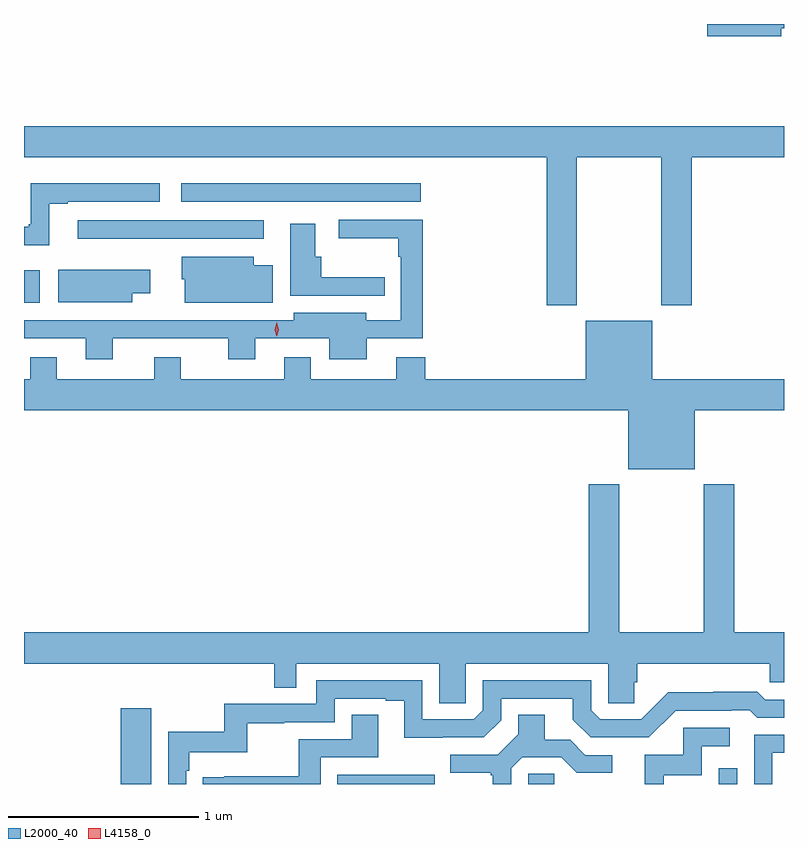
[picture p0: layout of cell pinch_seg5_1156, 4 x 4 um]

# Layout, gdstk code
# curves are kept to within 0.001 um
import gdstk
lib = gdstk.Library(unit=1e-6, precision=1e-09)
def R(c, l, rs):  # rectangles x0, y0, x1, y1
    for r in rs: c.add(gdstk.rectangle(r[:2], r[2:], *l))
def P(c, l, *ps):  # polygons
    for p in ps: c.add(gdstk.Polygon(p, *l))
L2000_40 = (2000, 40)
L4158_0 = (4158, 0)

pinch_seg5_1156 = lib.new_cell('pinch_seg5_1156')
R(pinch_seg5_1156, L2000_40, [(832.244,841.474,832.405,841.873), (833.383,841.474,833.898,841.524), (834.39,841.474,834.527,841.527), (835.392,841.474,835.488,841.558), (831.735,844.007,831.817,844.177), (832.563,844.539,833.824,844.636)])
P(pinch_seg5_1156, L2000_40, [(835.72,845.452),(835.735,845.452),(835.735,845.474),(835.332,845.474),(835.332,845.41),(835.72,845.41)],
  [(834.645,844.772),(835.09,844.772),(835.09,843.993),(835.25,843.993),(835.25,844.772),(835.735,844.772),(835.735,844.936),(831.735,844.936),(831.735,844.772),(834.485,844.772),(834.485,843.993),(834.645,843.993)],
  [(831.868,844.527),(831.964,844.527),(831.964,844.539),(832.45,844.539),(832.45,844.636),(831.77,844.636),(831.77,844.42),(831.759,844.42),(831.759,844.408),(831.735,844.408),(831.735,844.31),(831.868,844.31)],
  [(832.201,843.819),(832.811,843.819),(832.811,843.71),(832.951,843.71),(832.951,843.819),(833.342,843.819),(833.342,843.71),(833.539,843.71),(833.539,843.819),(833.834,843.819),(833.834,844.443),(833.391,844.443),(833.391,844.346),(833.706,844.346),(833.706,844.25),(833.718,844.25),(833.718,843.915),(833.536,843.915),(833.536,843.955),(833.156,843.955),(833.156,843.915),(831.735,843.915),(831.735,843.819),(832.061,843.819),(832.061,843.71),(832.201,843.71)],
  [(832.386,844.344),(832.996,844.344),(832.996,844.44),(832.017,844.44),(832.017,844.343),(832.386,844.343)],
  [(833.633,844.142),(833.299,844.142),(833.299,844.249),(833.269,844.249),(833.269,844.423),(833.135,844.423),(833.135,844.044),(833.633,844.044)],
  [(833.044,844.204),(832.945,844.204),(832.945,844.249),(832.565,844.249),(832.565,844.131),(832.58,844.131),(832.58,844.007),(833.044,844.007)],
  [(832.306,844.058),(832.399,844.058),(832.399,844.18),(831.914,844.18),(831.914,844.01),(832.306,844.01)],
  [(835.264,843.44),(835.735,843.44),(835.735,843.604),(835.042,843.604),(835.042,843.913),(834.692,843.913),(834.692,843.604),(833.846,843.604),(833.846,843.721),(833.693,843.721),(833.693,843.604),(833.245,843.604),(833.245,843.721),(833.105,843.721),(833.105,843.604),(832.561,843.604),(832.561,843.721),(832.421,843.721),(832.421,843.604),(831.907,843.604),(831.907,843.721),(831.767,843.721),(831.767,843.604),(831.735,843.604),(831.735,843.44),(834.914,843.44),(834.914,843.131),(835.264,843.131)],
  [(834.06,842.108),(834.81,842.108),(834.81,841.9),(834.947,841.9),(834.947,842.01),(834.962,842.01),(834.962,842.108),(835.659,842.108),(835.659,842.01),(835.735,842.01),(835.735,842.272),(835.472,842.272),(835.472,843.052),(835.312,843.052),(835.312,842.272),(834.867,842.272),(834.867,843.052),(834.707,843.052),(834.707,842.272),(831.735,842.272),(831.735,842.108),(833.053,842.108),(833.053,841.981),(833.169,841.981),(833.169,842.108),(833.921,842.108),(833.921,841.9),(834.06,841.9)],
  [(832.59,841.544),(832.604,841.544),(832.604,841.64),(832.909,841.64),(832.909,841.795),(833.105,841.795),(833.105,841.8),(833.37,841.8),(833.37,841.923),(833.639,841.923),(833.639,841.911),(833.735,841.911),(833.735,841.718),(834.156,841.719),(834.246,841.809),(834.246,841.923),(834.623,841.923),(834.623,841.813),(834.717,841.719),(835.023,841.719),(835.164,841.86),(835.457,841.86),(835.457,841.863),(835.556,841.863),(835.595,841.824),(835.735,841.824),(835.735,841.917),(835.637,841.917),(835.595,841.96),(835.362,841.96),(835.362,841.957),(835.126,841.957),(834.984,841.815),(834.768,841.815),(834.72,841.863),(834.72,842.019),(834.15,842.019),(834.15,841.863),(834.102,841.815),(833.832,841.815),(833.832,842.019),(833.274,842.019),(833.274,841.896),(832.788,841.896),(832.788,841.75),(832.494,841.75),(832.494,841.474),(832.59,841.474)],
  [(833.298,841.614),(833.599,841.614),(833.599,841.838),(833.459,841.838),(833.459,841.71),(833.182,841.71),(833.182,841.514),(832.789,841.514),(832.789,841.509),(832.677,841.509),(832.677,841.474),(833.298,841.474)],
  [(834.3,841.557),(834.357,841.614),(834.563,841.614),(834.644,841.533),(834.832,841.533),(834.832,841.626),(834.69,841.626),(834.61,841.706),(834.475,841.706),(834.475,841.838),(834.335,841.838),(834.335,841.736),(834.228,841.629),(833.979,841.629),(833.979,841.532),(834.192,841.532),(834.192,841.521),(834.203,841.521),(834.203,841.474),(834.3,841.474)],
  [(835.103,841.521),(835.302,841.521),(835.302,841.674),(835.45,841.674),(835.45,841.77),(835.206,841.77),(835.206,841.629),(835.001,841.629),(835.001,841.474),(835.103,841.474)],
  [(835.674,841.638),(835.735,841.638),(835.735,841.734),(835.578,841.734),(835.578,841.474),(835.674,841.474)])
P(pinch_seg5_1156, L4158_0, [(833.065,843.83),(833.065,843.83),(833.055,843.866),(833.064,843.902),(833.065,843.903),(833.065,843.902),(833.075,843.866),(833.065,843.83)])

lib.write_gds('pinch_seg5_1156.gds')
